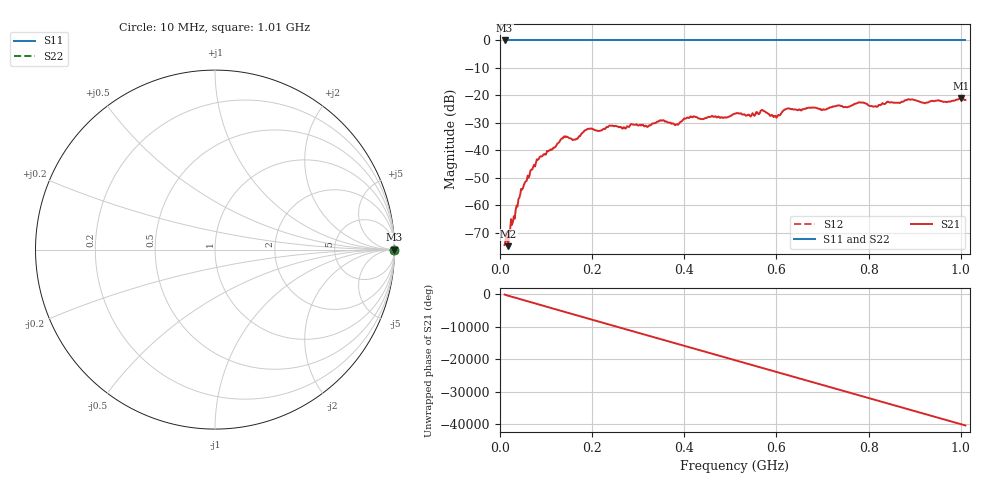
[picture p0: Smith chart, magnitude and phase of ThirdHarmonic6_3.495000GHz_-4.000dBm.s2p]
! 8/17/2025 11:23:57 AM
! C:\ANRITSUVNA\TEMP\TEMP.S2P
! CHANNEL.1
! TR.MEASUREMENT
! RAW.DATA
! RF.CORRECTION.OFF
! AVERAGING.OFF
! IF.BANDWIDTH: 5KHZ
! SWEEPTYPE:  FREQ.SWEEP(Linear)
! Reference Plane Port Info
! PORT:  PORT1  PORT2
! DISTANCE:  0  m  0  m
! TIME:  0  s  0  s
! PHASE.OFFSET:  0  deg.  0  deg.
! LOSS:  0  dB  0  dB
! REF.LOSS:  0  dB  0  dB
! REF.FREQ:  0  Hz  0  Hz
! Power Info
! POWER:  -20  dBm  -20  dBm
! EFF.POWER:  -20  dBm  -20  dBm
! SOURCE.ATTEN:  0  dB  0  dB
! TEST.ATTEN:  0  dB  0  dB
# GHZ S RI R 50.0
! FREQ.GHZ  S11RE  S11IM  S21RE  S21IM  S12RE  S12IM  S22RE  S22IM
!; PortSelection: Port_12
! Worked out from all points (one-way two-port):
!   501 points, 10 MHz to 1.01 GHz, reference 50 ohm
!   highest |S21| = -21.02 dB at 1 GHz (marker M1); lowest = -75.0 dB at 18 MHz (marker M2)
!   lowest |S11| = 0.0 dB at 10 MHz (marker M3)
!   |S11| at or under -10 dB: nowhere
!   |S22| runs from 0.0 to 0.0 dB; largest |S21 - S12| = 1.1
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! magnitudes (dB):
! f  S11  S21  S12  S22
! 10 MHz  0.0  -74.6  0.0  0.0
! 18 MHz  0.0  -75.0  0.0  0.0
! 48 MHz  0.0  -54.4  0.0  0.0
! 84 MHz  0.0  -43.2  0.0  0.0
! 136 MHz  0.0  -35.7  0.0  0.0
! 162 MHz  0.0  -36.1  0.0  0.0
! 178 MHz  0.0  -33.8  0.0  0.0
! 194 MHz  0.0  -32.2  0.0  0.0
! 318 MHz  0.0  -31.3  0.0  0.0
! 344 MHz  0.0  -29.6  0.0  0.0
! 384 MHz  0.0  -30.6  0.0  0.0
! 416 MHz  0.0  -27.9  0.0  0.0
! 510 MHz  0.0  -26.7  0.0  0.0
! 570 MHz  0.0  -25.4  0.0  0.0
! 598 MHz  0.0  -27.5  0.0  0.0
! 622 MHz  0.0  -24.9  0.0  0.0
! 678 MHz  0.0  -24.5  0.0  0.0
! 782 MHz  0.0  -22.7  0.0  0.0
! 814 MHz  0.0  -23.9  0.0  0.0
! 844 MHz  0.0  -22.5  0.0  0.0
! 1 GHz  0.0  -21.0  0.0  0.0
! 1.01 GHz  0.0  -21.7  0.0  0.0
